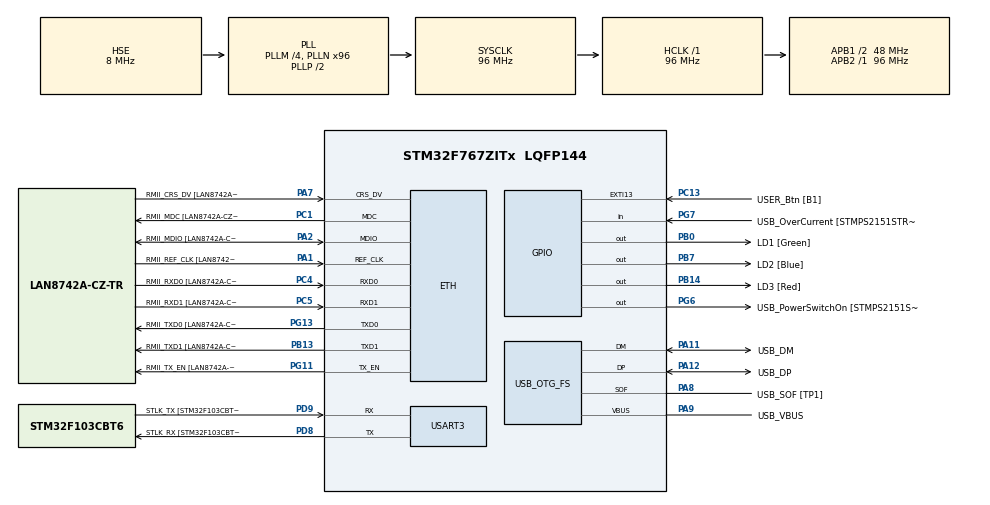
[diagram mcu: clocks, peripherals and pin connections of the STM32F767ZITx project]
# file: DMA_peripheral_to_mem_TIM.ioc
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ETH.MediaInterface=HAL_ETH_RMII_MODE
ETH.PHY_Name=LAN8742A_PHY_ADDRESS
ETH.PHY_Value=0
ETH.PhyAddress=0
Mcu.Family=STM32F7
Mcu.Name=STM32F767ZITx
Mcu.Package=LQFP144
NVIC.PriorityGroup=NVIC_PRIORITYGROUP_4
PA1.GPIO_Label=RMII_REF_CLK [LAN8742A-CZ-TR_REFCLK0]
PA1.Mode=RMII
PA1.Signal=ETH_REF_CLK
PA10.GPIO_Label=USB_ID
PA10.Signal=USB_OTG_FS_ID
PA11.GPIO_Label=USB_DM
PA11.Mode=Device_Only
PA11.Signal=USB_OTG_FS_DM
PA12.GPIO_Label=USB_DP
PA12.Mode=Device_Only
PA12.Signal=USB_OTG_FS_DP
PA13.GPIO_Label=TMS
PA13.Mode=Serial_Wire
PA13.Signal=SYS_JTMS-SWDIO
PA14.GPIO_Label=TCK
PA14.Mode=Serial_Wire
PA14.Signal=SYS_JTCK-SWCLK
PA2.GPIO_Label=RMII_MDIO [LAN8742A-CZ-TR_MDIO]
PA2.Mode=RMII
PA2.Signal=ETH_MDIO
PA7.GPIO_Label=RMII_CRS_DV [LAN8742A-CZ-TR_CRS_DV]
PA7.Mode=RMII
PA7.Signal=ETH_CRS_DV
PA8.GPIO_Label=USB_SOF [TP1]
PA8.Mode=Activate_SOF_FS
PA8.Signal=USB_OTG_FS_SOF
PA9.GPIO_Label=USB_VBUS
PA9.Mode=Activate_VBUS
PA9.Signal=USB_OTG_FS_VBUS
PB0.GPIO_Label=LD1 [Green]
PB0.Signal=GPIO_Output
PB13.GPIO_Label=RMII_TXD1 [LAN8742A-CZ-TR_TXD1]
PB13.Mode=RMII
PB13.Signal=ETH_TXD1
PB14.GPIO_Label=LD3 [Red]
PB14.Signal=GPIO_Output
PB3.GPIO_Label=SWO
PB3.Signal=SYS_JTDO-SWO
PB7.GPIO_Label=LD2 [Blue]
PB7.Signal=GPIO_Output
PC1.GPIO_Label=RMII_MDC [LAN8742A-CZ-TR_MDC]
PC1.Mode=RMII
PC1.Signal=ETH_MDC
PC13.GPIO_Label=USER_Btn [B1]
PC13.Signal=GPXTI13
PC14/OSC32_IN.Mode=LSE-External-Oscillator
PC14/OSC32_IN.Signal=RCC_OSC32_IN
PC15/OSC32_OUT.Mode=LSE-External-Oscillator
PC15/OSC32_OUT.Signal=RCC_OSC32_OUT
PC4.GPIO_Label=RMII_RXD0 [LAN8742A-CZ-TR_RXD0]
PC4.Mode=RMII
PC4.Signal=ETH_RXD0
PC5.GPIO_Label=RMII_RXD1 [LAN8742A-CZ-TR_RXD1]
PC5.Mode=RMII
PC5.Signal=ETH_RXD1
PD8.GPIO_Label=STLK_RX [STM32F103CBT6_PA3]
PD8.Mode=Asynchronous
PD8.Signal=USART3_TX
PD9.GPIO_Label=STLK_TX [STM32F103CBT6_PA2]
PD9.Mode=Asynchronous
PD9.Signal=USART3_RX
PG11.GPIO_Label=RMII_TX_EN [LAN8742A-CZ-TR_TXEN]
PG11.Mode=RMII
PG11.Signal=ETH_TX_EN
PG13.GPIO_Label=RMII_TXD0 [LAN8742A-CZ-TR_TXD0]
PG13.Mode=RMII
PG13.Signal=ETH_TXD0
PG6.GPIO_Label=USB_PowerSwitchOn [STMPS2151STR_EN]
PG6.Signal=GPIO_Output
PG7.GPIO_Label=USB_OverCurrent [STMPS2151STR_FAULT]
PG7.Signal=GPIO_Input
PH0/OSC_IN.GPIO_Label=MCO [STM32F103CBT6_PA8]
PH0/OSC_IN.Mode=HSE-External-Clock-Source
PH0/OSC_IN.Signal=RCC_OSC_IN
PH1/OSC_OUT.Mode=HSE-External-Clock-Source
PH1/OSC_OUT.Signal=RCC_OSC_OUT
ProjectManager.HeapSize=0x200
ProjectManager.StackSize=0x400
ProjectManager.TargetToolchain=STM32CubeIDE
RCC.48MHZClocksFreq_Value=24000000
RCC.AHBFreq_Value=96000000
RCC.APB1CLKDivider=RCC_HCLK_DIV2
RCC.APB1Freq_Value=48000000
RCC.APB1TimFreq_Value=96000000
RCC.APB2Freq_Value=96000000
RCC.APB2TimFreq_Value=96000000
RCC.CortexFreq_Value=96000000
RCC.HCLKFreq_Value=96000000
RCC.HSE_VALUE=8000000
RCC.HSI_VALUE=16000000
RCC.PLLM=4
RCC.PLLMUL=RCC_PLL_MUL9
RCC.PLLN=96
RCC.PLLQ=4
RCC.PRESCALERUSB=RCC_USBCLKSOURCE_PLL_DIV1_5
RCC.SYSCLKFreq_VALUE=96000000
RCC.SYSCLKSource=RCC_SYSCLKSOURCE_PLLCLK
RCC.SYSCLKSourceVirtual=RCC_SYSCLKSOURCE_PLLCLK
RCC.USBFreq_Value=48000000
RCC.VCOOutputFreq_Value=192000000
USART3.VirtualMode-Asynchronous=VM_ASYNC
USB_OTG_FS.VirtualMode=Device_Only
board=NUCLEO-F767ZI

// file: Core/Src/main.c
/* USER CODE BEGIN Header */
/**
  ******************************************************************************
  * @file           : main.c
  * @brief          : Main program body
  ******************************************************************************
  * @attention
  *
  * Copyright (c) 2025 STMicroelectronics.
  * All rights reserved.
  *
  * This software is licensed under terms that can be found in the LICENSE file
  * in the root directory of this software component.
  * If no LICENSE file comes with this software, it is provided AS-IS.
  *
  ******************************************************************************
  */
/* USER CODE END Header */
#include "main.h"
#include "string.h"

#if defined ( __ICCARM__ ) /*!< IAR Compiler */
#pragma location=0x2007c000
ETH_DMADescTypeDef  DMARxDscrTab[ETH_RX_DESC_CNT]; /* Ethernet Rx DMA Descriptors */
#pragma location=0x2007c0a0
ETH_DMADescTypeDef  DMATxDscrTab[ETH_TX_DESC_CNT]; /* Ethernet Tx DMA Descriptors */

#elif defined ( __CC_ARM )  /* MDK ARM Compiler */

__attribute__((at(0x2007c000))) ETH_DMADescTypeDef  DMARxDscrTab[ETH_RX_DESC_CNT]; /* Ethernet Rx DMA Descriptors */
__attribute__((at(0x2007c0a0))) ETH_DMADescTypeDef  DMATxDscrTab[ETH_TX_DESC_CNT]; /* Ethernet Tx DMA Descriptors */

#elif defined ( __GNUC__ ) /* GNU Compiler */

ETH_DMADescTypeDef DMARxDscrTab[ETH_RX_DESC_CNT] __attribute__((section(".RxDecripSection"))); /* Ethernet Rx DMA Descriptors */
ETH_DMADescTypeDef DMATxDscrTab[ETH_TX_DESC_CNT] __attribute__((section(".TxDecripSection")));   /* Ethernet Tx DMA Descriptors */
#endif

ETH_TxPacketConfig TxConfig;

ETH_HandleTypeDef heth;

UART_HandleTypeDef huart3;

PCD_HandleTypeDef hpcd_USB_OTG_FS;

/* USER CODE BEGIN PV */
static volatile uint16_t sourceArray[] = {0, 1, 2, 3, 4, 5, 6, 7, 8, 9};
static volatile uint16_t destArray[10];

/* USER CODE END PV */

void SystemClock_Config(void);
static void MX_GPIO_Init(void);
static void MX_ETH_Init(void);
static void MX_USART3_UART_Init(void);
static void MX_USB_OTG_FS_PCD_Init(void);
/* USER CODE BEGIN PFP */
void GPIO_Init();
void EXTI_Init();
void TIM_Init();
void DMA_Init();

/* USER CODE END PFP */

int main(void)
{

  /* MCU Configuration--------------------------------------------------------*/

  /* Reset of all peripherals, Initializes the Flash interface and the Systick. */
  HAL_Init();

  /* Configure the system clock */
  SystemClock_Config();

  /* Initialize all configured peripherals */
  MX_GPIO_Init();
  MX_ETH_Init();
  MX_USART3_UART_Init();
  MX_USB_OTG_FS_PCD_Init();
  /* USER CODE BEGIN 2 */
  GPIO_Init();
  EXTI_Init();
  TIM_Init();
  DMA_Init();
  for(int i = 0; i<10; i++)
  {
	  destArray[i] = 0xFF;
  }

  /* USER CODE END 2 */

  /* Infinite loop */
  while (1)
  {

  }
}

void SystemClock_Config(void)
{
  RCC_OscInitTypeDef RCC_OscInitStruct = {0};
  RCC_ClkInitTypeDef RCC_ClkInitStruct = {0};

  /** Configure LSE Drive Capability
  */
  HAL_PWR_EnableBkUpAccess();

  /** Configure the main internal regulator output voltage
  */
  __HAL_RCC_PWR_CLK_ENABLE();
  __HAL_PWR_VOLTAGESCALING_CONFIG(PWR_REGULATOR_VOLTAGE_SCALE3);

  /** Initializes the RCC Oscillators according to the specified parameters
  * in the RCC_OscInitTypeDef structure.
  */
  RCC_OscInitStruct.OscillatorType = RCC_OSCILLATORTYPE_HSE;
  RCC_OscInitStruct.HSEState = RCC_HSE_BYPASS;
  RCC_OscInitStruct.PLL.PLLState = RCC_PLL_ON;
  RCC_OscInitStruct.PLL.PLLSource = RCC_PLLSOURCE_HSE;
  RCC_OscInitStruct.PLL.PLLM = 4;
  RCC_OscInitStruct.PLL.PLLN = 96;
  RCC_OscInitStruct.PLL.PLLP = RCC_PLLP_DIV2;
  RCC_OscInitStruct.PLL.PLLQ = 4;
  RCC_OscInitStruct.PLL.PLLR = 2;
  if (HAL_RCC_OscConfig(&RCC_OscInitStruct) != HAL_OK)
  {
    Error_Handler();
  }

  /** Activate the Over-Drive mode
  */
  if (HAL_PWREx_EnableOverDrive() != HAL_OK)
  {
    Error_Handler();
  }

  /** Initializes the CPU, AHB and APB buses clocks
  */
  RCC_ClkInitStruct.ClockType = RCC_CLOCKTYPE_HCLK|RCC_CLOCKTYPE_SYSCLK
                              |RCC_CLOCKTYPE_PCLK1|RCC_CLOCKTYPE_PCLK2;
  RCC_ClkInitStruct.SYSCLKSource = RCC_SYSCLKSOURCE_PLLCLK;
  RCC_ClkInitStruct.AHBCLKDivider = RCC_SYSCLK_DIV1;
  RCC_ClkInitStruct.APB1CLKDivider = RCC_HCLK_DIV2;
  RCC_ClkInitStruct.APB2CLKDivider = RCC_HCLK_DIV1;

  if (HAL_RCC_ClockConfig(&RCC_ClkInitStruct, FLASH_LATENCY_3) != HAL_OK)
  {
    Error_Handler();
  }
}

static void MX_ETH_Init(void)
{

   static uint8_t MACAddr[6];

  heth.Instance = ETH;
  MACAddr[0] = 0x00;
  MACAddr[1] = 0x80;
  MACAddr[2] = 0xE1;
  MACAddr[3] = 0x00;
  MACAddr[4] = 0x00;
  MACAddr[5] = 0x00;
  heth.Init.MACAddr = &MACAddr[0];
  heth.Init.MediaInterface = HAL_ETH_RMII_MODE;
  heth.Init.TxDesc = DMATxDscrTab;
  heth.Init.RxDesc = DMARxDscrTab;
  heth.Init.RxBuffLen = 1524;

  if (HAL_ETH_Init(&heth) != HAL_OK)
  {
    Error_Handler();
  }

  memset(&TxConfig, 0 , sizeof(ETH_TxPacketConfig));
  TxConfig.Attributes = ETH_TX_PACKETS_FEATURES_CSUM | ETH_TX_PACKETS_FEATURES_CRCPAD;
  TxConfig.ChecksumCtrl = ETH_CHECKSUM_IPHDR_PAYLOAD_INSERT_PHDR_CALC;
  TxConfig.CRCPadCtrl = ETH_CRC_PAD_INSERT;

}

static void MX_USART3_UART_Init(void)
{

  huart3.Instance = USART3;
  huart3.Init.BaudRate = 115200;
  huart3.Init.WordLength = UART_WORDLENGTH_8B;
  huart3.Init.StopBits = UART_STOPBITS_1;
  huart3.Init.Parity = UART_PARITY_NONE;
  huart3.Init.Mode = UART_MODE_TX_RX;
  huart3.Init.HwFlowCtl = UART_HWCONTROL_NONE;
  huart3.Init.OverSampling = UART_OVERSAMPLING_16;
  huart3.Init.OneBitSampling = UART_ONE_BIT_SAMPLE_DISABLE;
  huart3.AdvancedInit.AdvFeatureInit = UART_ADVFEATURE_NO_INIT;
  if (HAL_UART_Init(&huart3) != HAL_OK)
  {
    Error_Handler();
  }

}

static void MX_USB_OTG_FS_PCD_Init(void)
{

  hpcd_USB_OTG_FS.Instance = USB_OTG_FS;
  hpcd_USB_OTG_FS.Init.dev_endpoints = 6;
  hpcd_USB_OTG_FS.Init.speed = PCD_SPEED_FULL;
  hpcd_USB_OTG_FS.Init.dma_enable = DISABLE;
  hpcd_USB_OTG_FS.Init.phy_itface = PCD_PHY_EMBEDDED;
  hpcd_USB_OTG_FS.Init.Sof_enable = ENABLE;
  hpcd_USB_OTG_FS.Init.low_power_enable = DISABLE;
  hpcd_USB_OTG_FS.Init.lpm_enable = DISABLE;
  hpcd_USB_OTG_FS.Init.vbus_sensing_enable = ENABLE;
  hpcd_USB_OTG_FS.Init.use_dedicated_ep1 = DISABLE;
  if (HAL_PCD_Init(&hpcd_USB_OTG_FS) != HAL_OK)
  {
    Error_Handler();
  }

}

static void MX_GPIO_Init(void)
{
  GPIO_InitTypeDef GPIO_InitStruct = {0};

  /* GPIO Ports Clock Enable */
  __HAL_RCC_GPIOC_CLK_ENABLE();
  __HAL_RCC_GPIOH_CLK_ENABLE();
  __HAL_RCC_GPIOA_CLK_ENABLE();
  __HAL_RCC_GPIOB_CLK_ENABLE();
  __HAL_RCC_GPIOD_CLK_ENABLE();
  __HAL_RCC_GPIOG_CLK_ENABLE();

  /*Configure GPIO pin Output Level */
  HAL_GPIO_WritePin(GPIOB, LD1_Pin|LD3_Pin|LD2_Pin, GPIO_PIN_RESET);

  /*Configure GPIO pin Output Level */
  HAL_GPIO_WritePin(USB_PowerSwitchOn_GPIO_Port, USB_PowerSwitchOn_Pin, GPIO_PIN_RESET);

  /*Configure GPIO pin : USER_Btn_Pin */
  GPIO_InitStruct.Pin = USER_Btn_Pin;
  GPIO_InitStruct.Mode = GPIO_MODE_IT_RISING;
  GPIO_InitStruct.Pull = GPIO_NOPULL;
  HAL_GPIO_Init(USER_Btn_GPIO_Port, &GPIO_InitStruct);

  /*Configure GPIO pins : LD1_Pin LD3_Pin LD2_Pin */
  GPIO_InitStruct.Pin = LD1_Pin|LD3_Pin|LD2_Pin;
  GPIO_InitStruct.Mode = GPIO_MODE_OUTPUT_PP;
  GPIO_InitStruct.Pull = GPIO_NOPULL;
  GPIO_InitStruct.Speed = GPIO_SPEED_FREQ_LOW;
  HAL_GPIO_Init(GPIOB, &GPIO_InitStruct);

  /*Configure GPIO pin : USB_PowerSwitchOn_Pin */
  GPIO_InitStruct.Pin = USB_PowerSwitchOn_Pin;
  GPIO_InitStruct.Mode = GPIO_MODE_OUTPUT_PP;
  GPIO_InitStruct.Pull = GPIO_NOPULL;
  GPIO_InitStruct.Speed = GPIO_SPEED_FREQ_LOW;
  HAL_GPIO_Init(USB_PowerSwitchOn_GPIO_Port, &GPIO_InitStruct);

  /*Configure GPIO pin : USB_OverCurrent_Pin */
  GPIO_InitStruct.Pin = USB_OverCurrent_Pin;
  GPIO_InitStruct.Mode = GPIO_MODE_INPUT;
  GPIO_InitStruct.Pull = GPIO_NOPULL;
  HAL_GPIO_Init(USB_OverCurrent_GPIO_Port, &GPIO_InitStruct);

}

/* USER CODE BEGIN 4 */
// initialization and configuration of GPIO-modules
void GPIO_Init()
{
	// enable clock of GPIOB, GPIOC
	RCC->AHB1ENR |= (RCC_AHB1ENR_GPIOBEN | RCC_AHB1ENR_GPIOCEN);

	// turn LD2 off
	GPIOB->ODR &= ~LD2_Pin;

	// LD2(PB7)->output
	GPIOB->MODER &= ~GPIO_MODER_MODER7_Msk;
	GPIOB->MODER |= GPIO_MODER_MODER7_0;

	// USR_Btn(PC13)->input
	GPIOC->MODER &= ~GPIO_MODER_MODER13_Msk;
}

// initialization and configuration of EXTI-modules
void EXTI_Init()
{
	// enable SYSCFG-clock
	RCC->APB2ENR |= RCC_APB2ENR_SYSCFGEN;

	// SysCfg configuration EXTI13->PC13
	SYSCFG->EXTICR[3] |= SYSCFG_EXTICR4_EXTI13_PC;

	// unmask EXTI13
	EXTI->IMR |= EXTI_IMR_MR13;

	// enable rising edge detection for EXTI13 (USR_Btn is high-active)
	EXTI->RTSR |= EXTI_RTSR_TR13;

	// NVIC IRQ config
	NVIC_ClearPendingIRQ(EXTI15_10_IRQn);
	NVIC_EnableIRQ(EXTI15_10_IRQn);
	NVIC_SetPriority(EXTI15_10_IRQn, 15);
}

// initialization and configuration of Timer-modules
void TIM_Init()
{

	/* TIM4 for debouncing USR-Btn */
	// enable TIM4-clock
	RCC->APB1ENR |= RCC_APB1ENR_TIM4EN;

	// determine APB1-Clk
	uint32_t Sysfreq = HAL_RCC_GetSysClockFreq();
	uint32_t APB1freq = HAL_RCC_GetPCLK1Freq();

    // set clock with prescaler to clock_cnt=clock_in/(PSC+1)
	uint16_t prescaleValueAPB1 = 47999;
	TIM4->PSC |= prescaleValueAPB1;
	// APB1-Clk is 48MHz -> 48MHz/(47999+1)=1kHz-> Timer-Clock is 1kHz

	// set auto-reload value of TIM4
	TIM4->ARR &= ~(0xFFFFFFFF);
	uint16_t TIM4_ticks = 10;
    TIM4->ARR |= TIM4_ticks;      // count time: 10ms

    // enable update interrupt-flag
    TIM4->DIER |= (TIM_DIER_UIE);

    // activate upward counter (default) and one-pulse mode
    TIM4->CR1 |= (TIM_CR1_OPM);

    // NVIC IRQ config
    NVIC_ClearPendingIRQ(TIM4_IRQn);
    NVIC_EnableIRQ(TIM4_IRQn);
    NVIC_SetPriority(TIM4_IRQn, 1);

    /* TIM1 for controlling DMA2 */

    // enable TIM1-clock
    RCC->APB2ENR |= RCC_APB2ENR_TIM1EN;

    // determine APB2-Clk
    uint32_t APB2freq = HAL_RCC_GetPCLK2Freq();

    // set clock with prescaler to clock_cnt=clock_in/(PSC+1)
	uint16_t prescaleValueAPB2 = 47999;
	TIM1->PSC |= prescaleValueAPB2;
	// APB2-Clk is 48MHz -> 96MHz/(47999+1)=2kHz-> Timer-Clock is 2kHz

	// set auto-reload value of TIM1
	TIM1->ARR &= ~(0xFFFF);
	uint16_t TIM1_ticks = 200;
	TIM1->ARR |= TIM1_ticks;      // count time: 100ms

	// enable update dma request
	TIM1->DIER |= (TIM_DIER_UDE);

	// activate upward counter (default) and one-pulse mode
	TIM1->CR1 |= (TIM_CR1_OPM);

}

// initialization and configuration of DMA-modules
void DMA_Init()
{
	/* DMA2 periph2mem transfer initiated by TIM1 update */
	/* TIM1_UP: stream5, channel6 */
	// enable DMA2 clock
	RCC->AHB1ENR |= RCC_AHB1ENR_DMA2EN;

	/* DMA2 is used, because memory AND peripheral port have access	to SRAM */

	// following procedure in RM p.267

	// 1. disable stream2 of DMA2 & clear all stream-dedicated status-bits
	DMA2_Stream5->CR &= ~(DMA_SxCR_EN);
	while(DMA2_Stream5->CR & DMA_SxCR_EN) {}
	DMA2->HISR &= ~(DMA_HISR_FEIF5|DMA_HISR_DMEIF5|DMA_HISR_TEIF5|DMA_HISR_HTIF5|DMA_HISR_TCIF5);

	// 2. set peripheral port (mem2mem: source) address
	DMA2_Stream5->PAR &= ~(0xFFFFFFFF);
	DMA2_Stream5->PAR |= (uint32_t)sourceArray;

	// 3. set memory (mem2mem: destination) address
	DMA2_Stream5->M0AR &= ~(0xFFFFFFFF);
	DMA2_Stream5->M0AR |= (uint32_t)destArray;

	// 4. configure total number of transferred items
	DMA2_Stream5->NDTR &= ~(0xFFFF);
	DMA2_Stream5->NDTR |= sizeof(destArray)/sizeof(destArray[0]);

	// 5. select DMA channel6
	DMA2_Stream5->CR &= ~(DMA_SxCR_CHSEL);
	DMA2_Stream5->CR |= (DMA_SxCR_CHSEL_2|DMA_SxCR_CHSEL_1);

	// 6. (only if peripheral=flow-controller)

	// 7. configure stream priority (0b11:highest - 0b00:lowest)
	DMA2_Stream5->CR &= ~(DMA_SxCR_PL);
	DMA2_Stream5->CR |= (DMA_SxCR_PL_1|DMA_SxCR_PL_0);

	// 8. configure FIFO usage (default: direct mode (DMDIS=0))
	DMA2_Stream5->FCR &= ~(DMA_SxFCR_DMDIS);

	// 9.
	// data transfer direction (0b00: periph2mem)
	DMA2_Stream5->CR &= ~(DMA_SxCR_DIR);
	//DMA2_Stream5->CR |= 0;

	// peripheral (source) increment mode (PINC=1: according to PSIZE)
	DMA2_Stream5->CR |= DMA_SxCR_PINC;

	// memory (destination) increment mode (MINC=1: according to MSIZE)
	DMA2_Stream5->CR |= DMA_SxCR_MINC;

	// XSIZE[1:0]: (0b00: byte, 0b01: half-word, 0b10: word)
	// peripheral (source) data size
	DMA2_Stream5->CR &= ~(DMA_SxCR_PSIZE);
	DMA2_Stream5->CR |= (DMA_SxCR_PSIZE_0);

	// memory (destination) data size
	DMA2_Stream5->CR &= ~(DMA_SxCR_MSIZE);
	DMA2_Stream5->CR |= (DMA_SxCR_MSIZE_0);

	// enable circular mode
	DMA2_Stream5->CR |= (DMA_SxCR_CIRC);

	// enable transfer error interrupt
	DMA2_Stream5->CR |= DMA_SxCR_TEIE;
	NVIC_ClearPendingIRQ(DMA2_Stream5_IRQn);
	NVIC_EnableIRQ(DMA2_Stream5_IRQn);
	NVIC_SetPriority(DMA2_Stream5_IRQn, 0);

	// enable DMA2Stream5
	DMA2_Stream5->CR |= DMA_SxCR_EN;

}
/* USER CODE END 4 */

void Error_Handler(void)
{
  __disable_irq();
  while (1)
  {
  }
}
